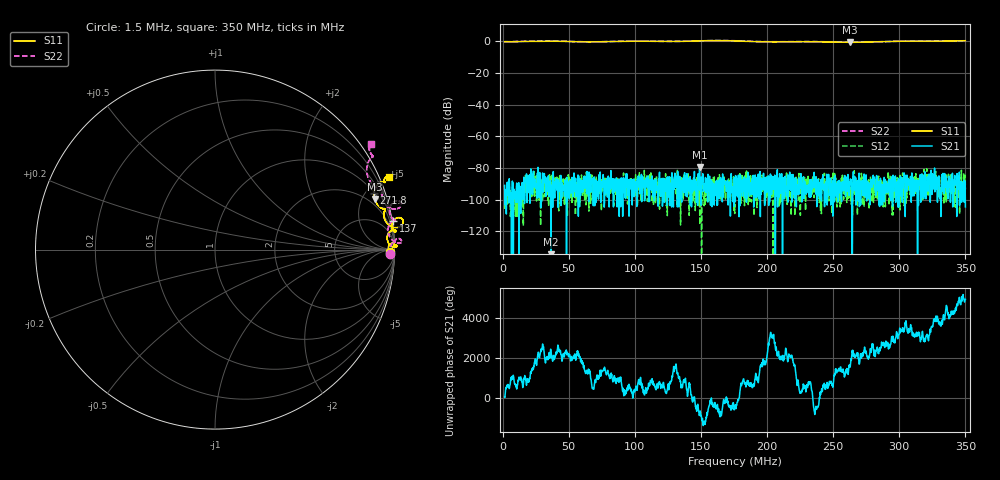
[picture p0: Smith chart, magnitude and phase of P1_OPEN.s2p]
# Hz S RI R 50
! RAW DATA - UNCALIBRATED
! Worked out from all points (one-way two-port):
!   1601 points, 1.5 MHz to 350 MHz, reference 50 ohm
!   highest |S21| = -79.33 dB at 149 MHz (marker M1); lowest = -186.4 dB at 36.57 MHz (marker M2)
!   lowest |S11| = -0.6 dB at 262.9 MHz (marker M3), VSWR 28.47, Z = 72.7 + j310 ohm
!   |S11| at or under -10 dB: nowhere
!   |S22| runs from -0.5 to 0.6 dB; largest |S21 - S12| = 0.00013
!   S11 on the Smith chart (normalised r, x): 1.5 MHz: 60, -42; 137 MHz: -0, +13; 271.8 MHz: 1.03, +5.61; 350 MHz: -0.61, +4.89
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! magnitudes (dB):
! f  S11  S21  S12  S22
! 1.5 MHz  -0.2  -91.0  -105.9  -0.2
! 8.47 MHz  -0.3  -93.3  -101.1  -0.1
! 17.84 MHz  0.0  -86.7  -93.8  0.1
! 28.94 MHz  0.0  -105.0  -87.2  0.3
! 36.57 MHz  0.1  -186.4  -89.4  0.3
! 59.66 MHz  -0.3  -94.9  -84.4  -0.2
! 73.16 MHz  -0.3  -88.9  -96.1  -0.2
! 97.77 MHz  0.1  -95.8  -91.4  0.1
! 117.8 MHz  0.0  -91.6  -94.5  0.0
! 127.4 MHz  -0.1  -101.7  -100.4  -0.1
! 137 MHz  0.0  -95.6  -83.9  0.0
! 149 MHz  0.3  -79.3  -102.9  0.3
! 162.7 MHz  0.5  -90.5  -96.6  0.6
! 175.8 MHz  0.3  -91.1  -86.2  0.4
! 200.6 MHz  -0.3  -88.7  -87.5  -0.2
! 233.9 MHz  -0.2  -92.4  -96.6  -0.1
! 262.9 MHz  -0.6  -89.4  -99.8  -0.5
! 271.8 MHz  -0.5  -91.8  -91.2  -0.5
! 292.1 MHz  -0.1  -87.4  -92.6  0.0
! 304.5 MHz  0.1  -110.7  -100.4  0.2
! 332.4 MHz  0.2  -94.6  -88.7  0.2
! 350 MHz  0.4  -104.6  -93.5  0.4
